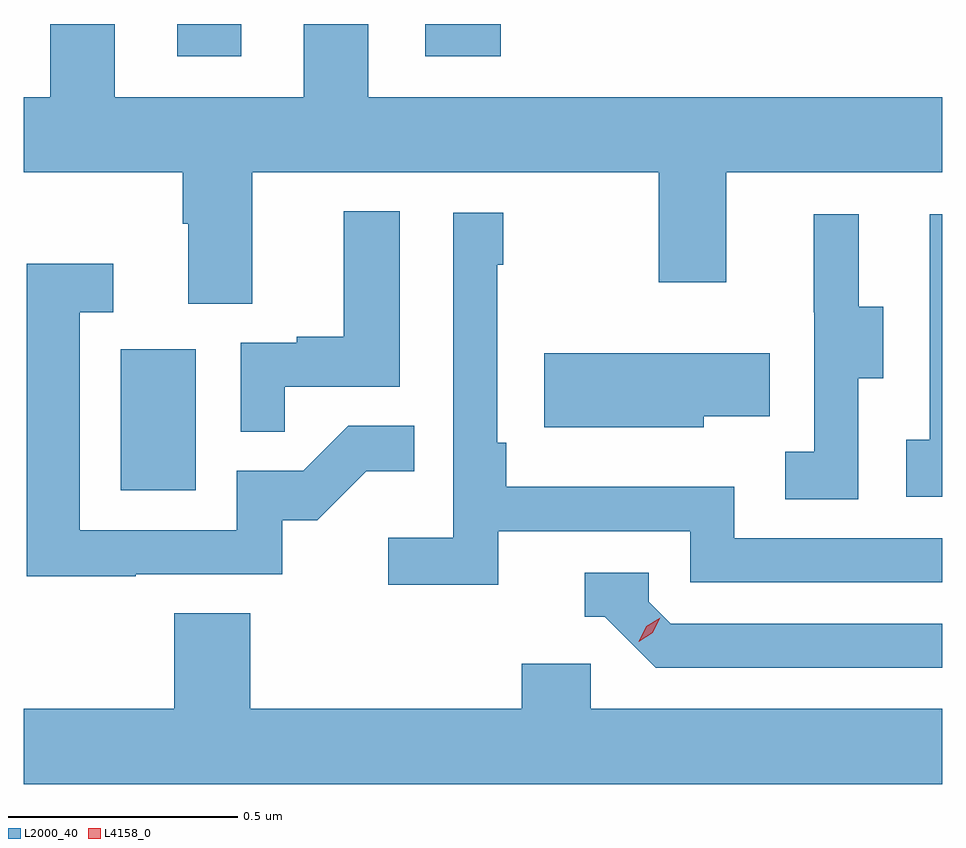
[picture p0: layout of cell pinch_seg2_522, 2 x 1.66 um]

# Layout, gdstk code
import gdstk
lib = gdstk.Library(unit=1e-6, precision=1e-09)
def R(c, l, rs):  # rectangles x0, y0, x1, y1
    for r in rs: c.add(gdstk.rectangle(r[:2], r[2:], *l))
def P(c, l, *ps):  # polygons
    for p in ps: c.add(gdstk.Polygon(p, *l))
L2000_40 = (2000, 40)
L4158_0 = (4158, 0)

pinch_seg2_522 = lib.new_cell('pinch_seg2_522')
R(pinch_seg2_522, L2000_40, [(997.82,597.66,997.984,597.967), (997.943,598.605,998.083,598.675), (998.483,598.605,998.648,598.675)])
P(pinch_seg2_522, L2000_40, [(998.107,598.352),(998.992,598.352),(998.992,598.113),(999.139,598.113),(999.139,598.352),(999.609,598.352),(999.609,598.516),(998.359,598.516),(998.359,598.675),(998.219,598.675),(998.219,598.516),(997.807,598.516),(997.807,598.675),(997.667,598.675),(997.667,598.516),(997.609,598.516),(997.609,598.352),(997.955,598.352),(997.955,598.24),(997.967,598.24),(997.967,598.066),(998.107,598.066)],
  [(998.177,597.885),(998.428,597.885),(998.428,598.267),(998.306,598.267),(998.306,597.994),(998.203,597.994),(998.203,597.981),(998.082,597.981),(998.082,597.787),(998.177,597.787)],
  [(998.642,597.57),(999.06,597.57),(999.06,597.459),(999.609,597.459),(999.609,597.555),(999.156,597.555),(999.156,597.667),(998.66,597.667),(998.66,597.763),(998.64,597.763),(998.64,598.151),(998.653,598.151),(998.653,598.264),(998.544,598.264),(998.544,597.556),(998.403,597.556),(998.403,597.454),(998.642,597.454)],
  [(999.609,598.261),(999.582,598.261),(999.582,597.77),(999.531,597.77),(999.531,597.645),(999.609,597.645)],
  [(999.426,597.904),(999.481,597.904),(999.481,598.059),(999.427,598.059),(999.427,598.261),(999.329,598.261),(999.329,598.047),(999.33,598.047),(999.33,597.743),(999.267,597.743),(999.267,597.64),(999.426,597.64)],
  [(997.853,597.477),(998.172,597.477),(998.172,597.594),(998.248,597.594),(998.355,597.701),(998.459,597.701),(998.459,597.8),(998.316,597.8),(998.218,597.702),(998.073,597.702),(998.073,597.573),(997.731,597.573),(997.731,598.047),(997.804,598.047),(997.804,598.153),(997.615,598.153),(997.615,597.472),(997.853,597.472)],
  [(999.09,597.821),(999.233,597.821),(999.233,597.958),(998.742,597.958),(998.742,597.797),(999.09,597.797)],
  [(999.609,597.369),(999.018,597.369),(998.97,597.417),(998.97,597.48),(998.831,597.48),(998.831,597.384),(998.874,597.384),(998.985,597.273),(999.609,597.273)],
  [(999.609,597.184),(998.844,597.184),(998.844,597.282),(998.693,597.282),(998.693,597.184),(998.102,597.184),(998.102,597.392),(997.937,597.392),(997.937,597.184),(997.609,597.184),(997.609,597.02),(999.609,597.02)])
P(pinch_seg2_522, L4158_0, [(998.948,597.33),(998.948,597.33),(998.964,597.363),(998.995,597.382),(998.995,597.382),(998.995,597.382),(998.979,597.349),(998.948,597.33)])

lib.write_gds('pinch_seg2_522.gds')
